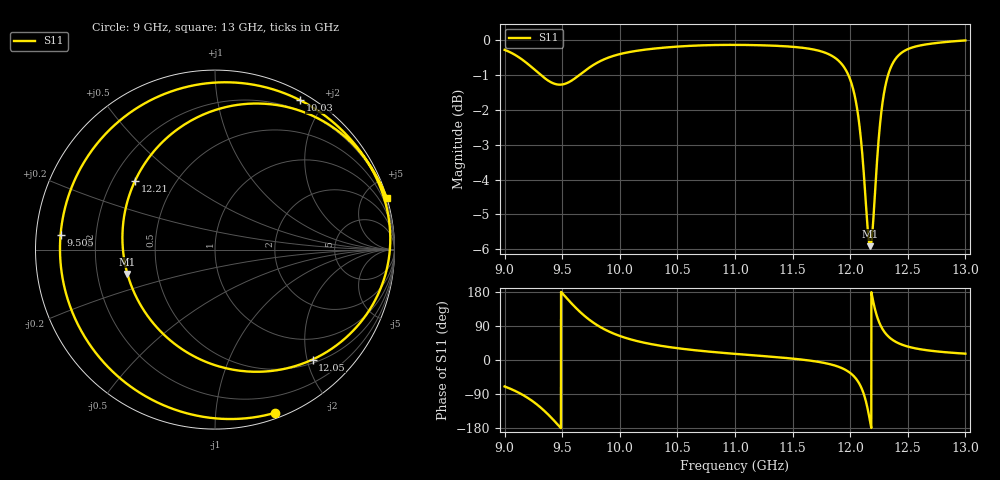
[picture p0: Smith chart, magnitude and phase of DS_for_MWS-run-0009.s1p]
! TOUCHSTONE file generated by CST DESIGN STUDIO
! Date and time: Tue Feb  4 13:55:49 2025
! Project name: C:\Work\MatlabApps\UnitCellOptimizationMatlab\CST\unitcell.cst
! Tree item: Tasks\Sweep1\SPara1\S-Parameters
! Header version: 2024
! Port assignment regex: !\s*Touchstone port\s*([0-9]+)\s*=\s*(CST MWS port|CST DES external port|CST DES block port)\s*(.+)\s* \(\"(.*)\"\)(\s*mode\s*([0-9]+))?.*
! Touchstone port assignment:
! Touchstone port 1 = CST DES external port 1 ("")
# GHz S MA R 50
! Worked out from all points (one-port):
!   4001 points, 9 GHz to 13 GHz, reference 50 ohm
!   lowest |S11| = -5.9 dB at 12.17 GHz (marker M1), VSWR 3.05, Z = 16.7 - j6.09 ohm
!   |S11| at or under -10 dB: nowhere
!   S11 on the Smith chart (normalised r, x): 9 GHz: 0.05, -1.43; 9.505 GHz: 0.07, +0.05; 10.03 GHz: 0.08, +1.72; 12.05 GHz: 0.56, -2.10; 12.21 GHz: 0.29, +0.34; 13 GHz: 0.01, +6.82
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9  0.9689 -69.8
9.158  0.9368 -92.1
9.276  0.9027 -116.3
9.406  0.8699 -152.5
9.5  0.8641 176.4
9.505  0.8644 174.7
9.618  0.8836 137.7
9.718  0.9094 110.3
9.833  0.9339 86.6
10  0.9553 63.5
10.03  0.9579 60.3
10.231  0.97 44.4
10.5  0.9793 31.2
11  0.9849 16.2
11.5  0.9787 3.7
11.843  0.9495 -12.5
12  0.8782 -34.2
12.048  0.819 -48.4
12.09  0.7298 -68.7
12.12  0.6376 -91.7
12.146  0.5522 -121.3
12.174  0.5064 -164.4
12.211  0.5879 139.2
12.247  0.7207 102.9
12.289  0.8313 77.6
12.374  0.9296 51.8
12.5  0.9711 35.5
13  0.9994 16.7
